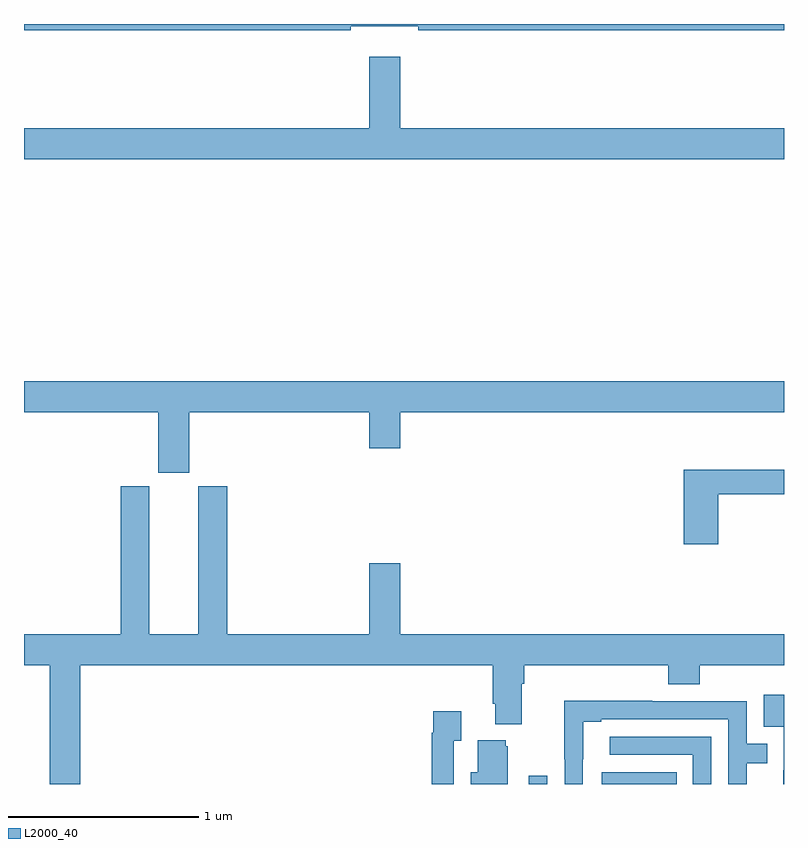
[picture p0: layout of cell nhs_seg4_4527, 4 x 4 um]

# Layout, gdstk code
import gdstk
lib = gdstk.Library(unit=1e-6, precision=1e-09)
def R(c, l, rs):  # rectangles x0, y0, x1, y1
    for r in rs: c.add(gdstk.rectangle(r[:2], r[2:], *l))
def P(c, l, *ps):  # polygons
    for p in ps: c.add(gdstk.Polygon(p, *l))
L2000_40 = (2000, 40)

nhs_seg4_4527 = lib.new_cell('nhs_seg4_4527')
R(nhs_seg4_4527, L2000_40, [(357.657,758.9,357.753,758.944), (358.04,758.9,358.436,758.962)])
P(nhs_seg4_4527, L2000_40, [(356.72,762.887),(357.076,762.887),(357.076,762.868),(359,762.868),(359,762.9),(355,762.9),(355,762.868),(356.72,762.868)],
  [(359,762.352),(356.98,762.352),(356.98,762.727),(356.816,762.727),(356.816,762.352),(355,762.352),(355,762.188),(359,762.188)],
  [(355.87,760.856),(356.816,760.856),(356.816,760.668),(356.98,760.668),(356.98,760.856),(359,760.856),(359,761.02),(355,761.02),(355,760.856),(355.706,760.856),(355.706,760.539),(355.87,760.539)],
  [(358.655,760.426),(359,760.426),(359,760.555),(358.472,760.555),(358.472,760.161),(358.655,760.161)],
  [(355.295,759.524),(357.467,759.524),(357.467,759.322),(357.479,759.322),(357.479,759.215),(357.619,759.215),(357.619,759.428),(357.632,759.428),(357.632,759.524),(358.391,759.524),(358.391,759.425),(358.556,759.425),(358.556,759.524),(359,759.524),(359,759.688),(356.98,759.688),(356.98,760.063),(356.816,760.063),(356.816,759.688),(356.069,759.688),(356.069,760.467),(355.916,760.467),(355.916,759.688),(355.66,759.688),(355.66,760.467),(355.508,760.467),(355.508,759.688),(355,759.688),(355,759.524),(355.135,759.524),(355.135,758.9),(355.295,758.9)],
  [(359,759.37),(358.893,759.37),(358.893,759.201),(358.998,759.201),(358.998,758.972),(358.997,758.972),(358.997,758.9),(359,758.9)],
  [(357.942,759.031),(357.943,759.031),(357.943,759.228),(358.039,759.228),(358.039,759.24),(358.707,759.24),(358.707,758.9),(358.803,758.9),(358.803,759.01),(358.913,759.01),(358.913,759.111),(358.803,759.111),(358.803,759.336),(358.307,759.336),(358.307,759.338),(357.844,759.338),(357.844,759.031),(357.846,759.031),(357.846,758.9),(357.942,758.9)],
  [(357.261,759.127),(357.301,759.127),(357.301,759.283),(357.153,759.283),(357.153,759.17),(357.145,759.17),(357.145,758.9),(357.261,758.9)],
  [(358.617,759.15),(358.083,759.15),(358.083,759.054),(358.521,759.054),(358.521,758.9),(358.617,758.9)],
  [(357.547,759.099),(357.536,759.099),(357.536,759.13),(357.389,759.13),(357.389,758.962),(357.35,758.962),(357.35,758.9),(357.547,758.9)])

lib.write_gds('nhs_seg4_4527.gds')
